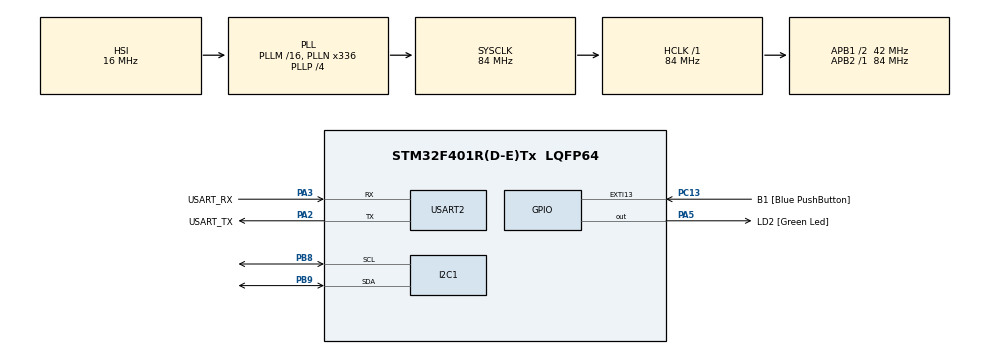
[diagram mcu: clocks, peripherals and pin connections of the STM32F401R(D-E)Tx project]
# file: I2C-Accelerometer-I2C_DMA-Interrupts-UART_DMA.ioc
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Dma.I2C1_RX.1.Direction=DMA_PERIPH_TO_MEMORY
Dma.I2C1_RX.1.FIFOMode=DMA_FIFOMODE_DISABLE
Dma.I2C1_RX.1.Instance=DMA1_Stream5
Dma.I2C1_RX.1.MemDataAlignment=DMA_MDATAALIGN_BYTE
Dma.I2C1_RX.1.MemInc=DMA_MINC_ENABLE
Dma.I2C1_RX.1.Mode=DMA_NORMAL
Dma.I2C1_RX.1.PeriphDataAlignment=DMA_PDATAALIGN_BYTE
Dma.I2C1_RX.1.PeriphInc=DMA_PINC_DISABLE
Dma.I2C1_RX.1.Priority=DMA_PRIORITY_LOW
Dma.Request0=USART2_TX
Dma.Request1=I2C1_RX
Dma.USART2_TX.0.Direction=DMA_MEMORY_TO_PERIPH
Dma.USART2_TX.0.FIFOMode=DMA_FIFOMODE_DISABLE
Dma.USART2_TX.0.Instance=DMA1_Stream6
Dma.USART2_TX.0.MemDataAlignment=DMA_MDATAALIGN_BYTE
Dma.USART2_TX.0.MemInc=DMA_MINC_ENABLE
Dma.USART2_TX.0.Mode=DMA_NORMAL
Dma.USART2_TX.0.PeriphDataAlignment=DMA_PDATAALIGN_BYTE
Dma.USART2_TX.0.PeriphInc=DMA_PINC_DISABLE
Dma.USART2_TX.0.Priority=DMA_PRIORITY_LOW
Mcu.Family=STM32F4
Mcu.Name=STM32F401R(D-E)Tx
Mcu.Package=LQFP64
NVIC.DMA1_Stream5_IRQn=true\:1\:0\:true\:false\:true\:false\:true
NVIC.DMA1_Stream6_IRQn=true\:1\:0\:true\:false\:true\:false\:true
NVIC.I2C1_EV_IRQn=true\:1\:0\:true\:false\:true\:true\:true
NVIC.PriorityGroup=NVIC_PRIORITYGROUP_1
NVIC.TIM1_TRG_COM_TIM11_IRQn=true\:1\:0\:true\:false\:true\:true\:true
NVIC.USART2_IRQn=true\:1\:0\:true\:false\:true\:true\:true
PA13.GPIO_Label=TMS
PA13.Mode=Serial_Wire
PA13.Signal=SYS_JTMS-SWDIO
PA14.GPIO_Label=TCK
PA14.Mode=Serial_Wire
PA14.Signal=SYS_JTCK-SWCLK
PA2.GPIO_Label=USART_TX
PA2.GPIO_Mode=GPIO_MODE_AF_PP
PA2.GPIO_PuPd=GPIO_NOPULL
PA2.GPIO_Speed=GPIO_SPEED_FREQ_LOW
PA2.Mode=Asynchronous
PA2.Signal=USART2_TX
PA3.GPIO_Label=USART_RX
PA3.GPIO_Mode=GPIO_MODE_AF_PP
PA3.GPIO_PuPd=GPIO_NOPULL
PA3.GPIO_Speed=GPIO_SPEED_FREQ_LOW
PA3.Mode=Asynchronous
PA3.Signal=USART2_RX
PA5.GPIO_Label=LD2 [Green Led]
PA5.GPIO_Mode=GPIO_MODE_OUTPUT_PP
PA5.GPIO_PuPd=GPIO_NOPULL
PA5.GPIO_Speed=GPIO_SPEED_FREQ_LOW
PA5.Signal=GPIO_Output
PB3.GPIO_Label=SWO
PB3.Signal=SYS_JTDO-SWO
PB8.Mode=I2C
PB8.Signal=I2C1_SCL
PB9.Mode=I2C
PB9.Signal=I2C1_SDA
PC13-ANTI_TAMP.GPIO_Label=B1 [Blue PushButton]
PC13-ANTI_TAMP.GPIO_ModeDefaultEXTI=GPIO_MODE_IT_FALLING
PC13-ANTI_TAMP.GPIO_PuPd=GPIO_NOPULL
PC13-ANTI_TAMP.Signal=GPXTI13
PC14-OSC32_IN.Mode=LSE-External-Oscillator
PC14-OSC32_IN.Signal=RCC_OSC32_IN
PC15-OSC32_OUT.Mode=LSE-External-Oscillator
PC15-OSC32_OUT.Signal=RCC_OSC32_OUT
PH0\ -\ OSC_IN.Mode=HSE-External-Clock-Source
PH0\ -\ OSC_IN.Signal=RCC_OSC_IN
PH1\ -\ OSC_OUT.Mode=HSE-External-Clock-Source
PH1\ -\ OSC_OUT.Signal=RCC_OSC_OUT
ProjectManager.HeapSize=0x200
ProjectManager.StackSize=0x400
ProjectManager.TargetToolchain=STM32CubeIDE
RCC.48MHZClocksFreq_Value=48000000
RCC.AHBFreq_Value=84000000
RCC.APB1CLKDivider=RCC_HCLK_DIV2
RCC.APB1Freq_Value=42000000
RCC.APB1TimFreq_Value=84000000
RCC.APB2Freq_Value=84000000
RCC.APB2TimFreq_Value=84000000
RCC.CortexFreq_Value=84000000
RCC.HCLKFreq_Value=84000000
RCC.HSE_VALUE=8000000
RCC.HSI_VALUE=16000000
RCC.PLLN=336
RCC.PLLP=RCC_PLLP_DIV4
RCC.PLLQ=7
RCC.SYSCLKFreq_VALUE=84000000
RCC.SYSCLKSource=RCC_SYSCLKSOURCE_PLLCLK
RCC.VCOOutputFreq_Value=336000000
TIM11.Period=42000
TIM11.Prescaler=2000
USART2.VirtualMode=VM_ASYNC
VP_TIM11_VS_ClockSourceINT.Mode=Enable_Timer
board=NUCLEO-F401RE

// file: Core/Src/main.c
/* USER CODE BEGIN Header */
/**
 ******************************************************************************
 * @file           : main.c
 * @brief          : Main program body
 ******************************************************************************
 * @attention
 *
 * <h2><center>&copy; Copyright (c) 2021 STMicroelectronics.
 * All rights reserved.</center></h2>
 *
 * This software component is licensed by ST under BSD 3-Clause license,
 * the "License"; You may not use this file except in compliance with the
 * License. You may obtain a copy of the License at:
 *                        opensource.org/licenses/BSD-3-Clause
 *
 ******************************************************************************
 */
/* USER CODE END Header */
#include "main.h"

/* USER CODE BEGIN Includes */
#include "stdio.h"
#include "string.h"
#include "stdint.h"
/* USER CODE END Includes */

/* USER CODE BEGIN PTD */
/**
 * @brief enumeration that contains the association between register and their address
 */
typedef enum {
	WHO_AM_I = 0x0F,
	TEMP_CFG_REG = 0x1F,
	CTRL_REG1 = 0x20,
	CTRL_REG4 = 0x23,
	OUT_X = 0x29,
	OUT_Y = 0x2B,
	OUT_Z = 0x2D,
	OUT_TEMP_L = 0x0C,
	OUT_TEMP_H = 0x0D
} Reg;

/**
 * @brief data structure that contains a sample from the accelerometer
 */
typedef struct {
	float acc_x;
	float acc_y;
	float acc_z;
} AccelData;

/* USER CODE END PTD */

/* USER CODE BEGIN PD */
#define accel_addr (0b0101000<<1) 	// address of the LIS2DE (shift by one for the R/W bit)
#define AUTOINCREMENT (0b1<<7)		// bit to set high if we want the auto increment (to set with the register address)
/* USER CODE END PD */

I2C_HandleTypeDef hi2c1;
DMA_HandleTypeDef hdma_i2c1_rx;

TIM_HandleTypeDef htim11;

UART_HandleTypeDef huart2;
DMA_HandleTypeDef hdma_usart2_tx;

/* USER CODE BEGIN PV */
/* constant messages to transmit */
const char *starting_str = "STARTING DMA PROJECT\r\n";
const char *tim_str = "tim callback\r\n";
const char *i2c_str = "i2c callback\r\n";
const char *error_str = "HAL_ERROR\r\n";

AccelData accelData; // structure that contains the last sample
uint8_t data[8]; // variable that contains the data sent in DMA mode by the sensor
char sample_str[64]; // string that contains the message to send over UART
/* USER CODE END PV */

void SystemClock_Config(void);
static void MX_GPIO_Init(void);
static void MX_USART2_UART_Init(void);
static void MX_DMA_Init(void);
static void MX_I2C1_Init(void);
static void MX_TIM11_Init(void);
/* USER CODE BEGIN PFP */
HAL_StatusTypeDef init();
HAL_StatusTypeDef sampleDMA(uint8_t *buf);
HAL_StatusTypeDef writeReg(Reg regAddress, int8_t value);
HAL_StatusTypeDef readRegDMA(Reg regAddress, uint8_t *data, int nData);
float convertToAcc(int8_t data);
void printSampleDMA(AccelData accelData);
/* USER CODE END PFP */

int main(void) {

	/* MCU Configuration--------------------------------------------------------*/

	/* Reset of all peripherals, Initializes the Flash interface and the Systick. */
	HAL_Init();

	/* Configure the system clock */
	SystemClock_Config();

	/* USER CODE BEGIN SysInit */
	MX_DMA_Init();
	/* USER CODE END SysInit */

	/* Initialize all configured peripherals */
	MX_GPIO_Init();
	MX_USART2_UART_Init();
	MX_DMA_Init();
	MX_I2C1_Init();
	MX_TIM11_Init();
	/* USER CODE BEGIN 2 */

	if (init() == HAL_OK) {
		HAL_UART_Transmit(&huart2, starting_str, strlen(starting_str), 100); // DEBUG

		HAL_TIM_Base_Start_IT(&htim11);
	} else {
		HAL_UART_Transmit(&huart2, error_str, strlen(error_str), 100); // DEBUG
	}

	/* USER CODE END 2 */

	/* Infinite loop */
	while (1) {

	}
}

void SystemClock_Config(void) {
	RCC_OscInitTypeDef RCC_OscInitStruct = { 0 };
	RCC_ClkInitTypeDef RCC_ClkInitStruct = { 0 };

	/** Configure the main internal regulator output voltage
	 */
	__HAL_RCC_PWR_CLK_ENABLE();
	__HAL_PWR_VOLTAGESCALING_CONFIG(PWR_REGULATOR_VOLTAGE_SCALE2);
	/** Initializes the RCC Oscillators according to the specified parameters
	 * in the RCC_OscInitTypeDef structure.
	 */
	RCC_OscInitStruct.OscillatorType = RCC_OSCILLATORTYPE_HSI;
	RCC_OscInitStruct.HSIState = RCC_HSI_ON;
	RCC_OscInitStruct.HSICalibrationValue = RCC_HSICALIBRATION_DEFAULT;
	RCC_OscInitStruct.PLL.PLLState = RCC_PLL_ON;
	RCC_OscInitStruct.PLL.PLLSource = RCC_PLLSOURCE_HSI;
	RCC_OscInitStruct.PLL.PLLM = 16;
	RCC_OscInitStruct.PLL.PLLN = 336;
	RCC_OscInitStruct.PLL.PLLP = RCC_PLLP_DIV4;
	RCC_OscInitStruct.PLL.PLLQ = 7;
	if (HAL_RCC_OscConfig(&RCC_OscInitStruct) != HAL_OK) {
		Error_Handler();
	}
	/** Initializes the CPU, AHB and APB buses clocks
	 */
	RCC_ClkInitStruct.ClockType = RCC_CLOCKTYPE_HCLK | RCC_CLOCKTYPE_SYSCLK
			| RCC_CLOCKTYPE_PCLK1 | RCC_CLOCKTYPE_PCLK2;
	RCC_ClkInitStruct.SYSCLKSource = RCC_SYSCLKSOURCE_PLLCLK;
	RCC_ClkInitStruct.AHBCLKDivider = RCC_SYSCLK_DIV1;
	RCC_ClkInitStruct.APB1CLKDivider = RCC_HCLK_DIV2;
	RCC_ClkInitStruct.APB2CLKDivider = RCC_HCLK_DIV1;

	if (HAL_RCC_ClockConfig(&RCC_ClkInitStruct, FLASH_LATENCY_2) != HAL_OK) {
		Error_Handler();
	}
}

static void MX_I2C1_Init(void) {

	hi2c1.Instance = I2C1;
	hi2c1.Init.ClockSpeed = 100000;
	hi2c1.Init.DutyCycle = I2C_DUTYCYCLE_2;
	hi2c1.Init.OwnAddress1 = 0;
	hi2c1.Init.AddressingMode = I2C_ADDRESSINGMODE_7BIT;
	hi2c1.Init.DualAddressMode = I2C_DUALADDRESS_DISABLE;
	hi2c1.Init.OwnAddress2 = 0;
	hi2c1.Init.GeneralCallMode = I2C_GENERALCALL_DISABLE;
	hi2c1.Init.NoStretchMode = I2C_NOSTRETCH_DISABLE;
	if (HAL_I2C_Init(&hi2c1) != HAL_OK) {
		Error_Handler();
	}

}

static void MX_TIM11_Init(void) {

	htim11.Instance = TIM11;
	htim11.Init.Prescaler = 2000;
	htim11.Init.CounterMode = TIM_COUNTERMODE_UP;
	htim11.Init.Period = 42000;
	htim11.Init.ClockDivision = TIM_CLOCKDIVISION_DIV1;
	htim11.Init.AutoReloadPreload = TIM_AUTORELOAD_PRELOAD_DISABLE;
	if (HAL_TIM_Base_Init(&htim11) != HAL_OK) {
		Error_Handler();
	}

}

static void MX_USART2_UART_Init(void) {

	huart2.Instance = USART2;
	huart2.Init.BaudRate = 115200;
	huart2.Init.WordLength = UART_WORDLENGTH_8B;
	huart2.Init.StopBits = UART_STOPBITS_1;
	huart2.Init.Parity = UART_PARITY_NONE;
	huart2.Init.Mode = UART_MODE_TX_RX;
	huart2.Init.HwFlowCtl = UART_HWCONTROL_NONE;
	huart2.Init.OverSampling = UART_OVERSAMPLING_16;
	if (HAL_UART_Init(&huart2) != HAL_OK) {
		Error_Handler();
	}

}

static void MX_DMA_Init(void) {

	/* DMA controller clock enable */
	__HAL_RCC_DMA1_CLK_ENABLE();

	/* DMA interrupt init */
	/* DMA1_Stream5_IRQn interrupt configuration */
	HAL_NVIC_SetPriority(DMA1_Stream5_IRQn, 1, 0);
	HAL_NVIC_EnableIRQ(DMA1_Stream5_IRQn);
	/* DMA1_Stream6_IRQn interrupt configuration */
	HAL_NVIC_SetPriority(DMA1_Stream6_IRQn, 1, 0);
	HAL_NVIC_EnableIRQ(DMA1_Stream6_IRQn);

}

static void MX_GPIO_Init(void) {
	GPIO_InitTypeDef GPIO_InitStruct = { 0 };

	/* GPIO Ports Clock Enable */
	__HAL_RCC_GPIOC_CLK_ENABLE();
	__HAL_RCC_GPIOH_CLK_ENABLE();
	__HAL_RCC_GPIOA_CLK_ENABLE();
	__HAL_RCC_GPIOB_CLK_ENABLE();

	/*Configure GPIO pin Output Level */
	HAL_GPIO_WritePin(LD2_GPIO_Port, LD2_Pin, GPIO_PIN_RESET);

	/*Configure GPIO pin : B1_Pin */
	GPIO_InitStruct.Pin = B1_Pin;
	GPIO_InitStruct.Mode = GPIO_MODE_IT_FALLING;
	GPIO_InitStruct.Pull = GPIO_NOPULL;
	HAL_GPIO_Init(B1_GPIO_Port, &GPIO_InitStruct);

	/*Configure GPIO pin : LD2_Pin */
	GPIO_InitStruct.Pin = LD2_Pin;
	GPIO_InitStruct.Mode = GPIO_MODE_OUTPUT_PP;
	GPIO_InitStruct.Pull = GPIO_NOPULL;
	GPIO_InitStruct.Speed = GPIO_SPEED_FREQ_LOW;
	HAL_GPIO_Init(LD2_GPIO_Port, &GPIO_InitStruct);

}

/* USER CODE BEGIN 4 */
/**
 * @brief callback of the timer, samples the data in DMA non-blocking mode
 */
void HAL_TIM_PeriodElapsedCallback(TIM_HandleTypeDef *htim) {
	if (htim == &htim11) {
		HAL_UART_Transmit(&huart2, tim_str, strlen(tim_str), 100); // DEBUG
		sampleDMA(data);
	}
}

/**
 * @brief callback of the I2C receiver DMA, called when all the sample is transferred. Converts and prints in DMA mode the sample received
 */
void HAL_I2C_MasterRxCpltCallback(I2C_HandleTypeDef *hi2c) {
	if (hi2c == &hi2c1) {
		HAL_UART_Transmit(&huart2, i2c_str, strlen(i2c_str), 100);  // DEBUG
		accelData.acc_x = convertToAcc(data[0]);
		accelData.acc_y = convertToAcc(data[2]);
		accelData.acc_z = convertToAcc(data[4]);
		printSampleDMA(accelData);
	}
}

/**
 * @brief initializes the accelerometer
 * @return HAL_OK if the sensor has been configured, HAL_ERROR otherwise
 */
HAL_StatusTypeDef init() {
	// enabling normal mode (1Hz) and enabling X,Y,Z outputs
	if (writeReg(CTRL_REG1, 0b00010111) != HAL_OK) {
		return HAL_ERROR;
	}

	return HAL_OK;
}

/**
 * @brief converts a byte into the acceleration in g
 * @param data the byte read from the accelerometer
 * @return the float signed value of the acceleration in g
 */
float convertToAcc(int8_t value) {
	// multiplying the read data by the FSR and dividing by 2^bytes=256
	return (float) value * 4 / 256.0;
}

/**
 * @brief writes in the register passed the data
 * @param regAddress the address on which we want to read
 * @param data the pointer to the array of bytes into we will store the read data
 * @param nData the number of bytes to read
 * @return HAL_OK if sensor acknowledged, HAL_ERROR otherwise
 */
HAL_StatusTypeDef readRegDMA(Reg regAddress, uint8_t *buf, int nData) {
	// setting the autoincrement bit in order to read nData DIFFERENT registers
	// (and not the same register nData times).
	if (nData > 1) {
		regAddress |= AUTOINCREMENT;
	}

	HAL_StatusTypeDef ret = HAL_I2C_Master_Transmit(&hi2c1, accel_addr,
			&regAddress, 1, 1000);
	if (ret == HAL_OK) {
		return HAL_I2C_Master_Receive_DMA(&hi2c1, accel_addr + 1, buf, 5);
	} else {
		HAL_UART_Transmit(&huart2, error_str, strlen(error_str), 100);  // DEBUG
		return ret;
	}
}

/**
 * @brief writes into the register the value passed
 * @param regAddress register to be written
 * @param value the value to write into the register
 * @return the same return of the HAL_I2C_Transmit
 */
HAL_StatusTypeDef writeReg(Reg regAddress, int8_t value) {
	uint8_t datar[2] = { regAddress, value };
	return HAL_I2C_Master_Transmit(&hi2c1, accel_addr, datar, 2, 1000);
}

/**
 * @brief samples the accelerometer in DMA mode.
 * In this case it's only a wrapper to the readRegDMA but it's kept anyway in order to keep the same structure and have a easily understandable code
 * @param accelData the structure to update
 * @return HAL_OK if new data has been sampled, HAL_ERROR otherwise
 */
HAL_StatusTypeDef sampleDMA(uint8_t *buf) {
	// sampling values from X to Z register included
	return readRegDMA(OUT_X, buf, 5);
}

/**
 * @brief prints over the serial communication the sample passed in DMA mode
 * @param accelData the structure to print
 */
void printSampleDMA(AccelData accelData) {
	sprintf(sample_str,
			"Non Blocking I2C DMA\r\nX: %+.3f\r\nY: %+.3f\r\nZ: %+.3f\r\n\n",
			accelData.acc_x, accelData.acc_y, accelData.acc_z);
	HAL_UART_Transmit_DMA(&huart2, sample_str, strlen(sample_str));
}
/* USER CODE END 4 */

void Error_Handler(void) {
	__disable_irq();
	while (1) {
	}
}

/************************ (C) COPYRIGHT STMicroelectronics *****END OF FILE****/
